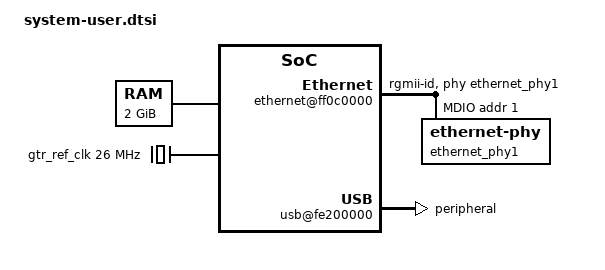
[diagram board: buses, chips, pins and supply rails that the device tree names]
/include/ "system-conf.dtsi"

/* ROOT CAUSE FOUND (RX-never-works bug): the inherited zcu102/fmcomms2-3 reference
 * tree's "uart1-default" pinctrl group (groups=uart1_5_grp) muxes MIO20/MIO21 to the
 * uart1 function -- that's the ZCU102's own wiring, not ours. Our actual UART1 pins,
 * per Vivado's PS8 config (psu_init.c) and confirmed working at the U-Boot prompt,
 * are MIO40 (TX) / MIO41 (RX). FSBL leaves MIO20/21 inert (L3_SEL=0, gpio) at boot;
 * it's Linux's pinctrl driver applying this stale "default" state on UART1 probe that
 * first actively muxes MIO21 to uart1 RX too. Since a ZynqMP peripheral's RX input is
 * an OR of every MIO pin currently muxed to it, and MIO21 floats unconnected on this
 * board, this corrupts the shared internal UART1 RX line -- explaining why RX is 100%
 * dead under Linux (SR.RXEMPTY stuck at 1, zero RXTRIG interrupts ever, confirmed via
 * raw register polling while mashing keys) while TX and U-Boot's own RX are both fine.
 * Drop the stale pinctrl reference entirely so Linux leaves MIO20/21 untouched. */
&{/axi/serial@ff010000} {
	/delete-property/ pinctrl-names;
	/delete-property/ pinctrl-0;
};

/* THROUGHPUT FIX (2026-10-12): the AD9361 RX/TX DMA (axi_dmac) data masters were
 * wired to plain, non-coherent HP ports (HP1/HP2 FPD), meaning the CPU had to read
 * capture buffers as uncached memory -- measured at ~59 MB/s regardless of
 * configured sample rate (16 vs 30.72 MS/s made no difference, confirming a fixed
 * CPU-read ceiling, not a USB/iiod/sample-rate-dependent limit). Fixed in Vivado by
 * moving both DMA masters onto the coherent HPC0/HPC1 FPD ports instead (which route
 * through the cache-coherent interconnect), with their AWUSER/ARUSER sideband
 * signals tied high -- ZynqMP requires that bit asserted on HPC ports to actually
 * get snooped/coherent transactions; left floating, it defaults to behaving exactly
 * like a plain HP port despite the physical rewiring.
 *
 * dma-coherent on the RX node only: the axi_dmac IP only exposes a
 * CACHE_COHERENT_DEST parameter, no CACHE_COHERENT_SRC counterpart -- ADI only
 * implemented coherent support for the memory-WRITE direction. RX's memory-facing
 * port is its destination (capturing into DDR) and has CACHE_COHERENT_DEST=true, so
 * dma-coherent is correct there. TX's memory-facing port is its SOURCE (reading
 * samples out to play), which this IP has no coherent support for at all --
 * confirmed by hardware: "dma-axi-dmac 9c420000.dma: Coherent DMA not supported in
 * hardware" / "probe ... failed with error -22" when dma-coherent was set on it.
 * TX stays physically wired to HPC1 (harmless -- without the DT flag Linux just
 * treats it as an ordinary non-coherent buffer with explicit cache maintenance,
 * same as before) but does NOT get the dma-coherent property. */
&{/fpga-axi@0/dma@9c400000} {
	dma-coherent;
};

/ {
	chosen {
		/* P501 only clocks PS UART1 (see psu_init.c: UART1_REF_CTRL CLKACT=1,
		 * no UART0 clock enable at all) -- the stock zcu102 reference .dts
		 * defaults to UART0 (serial0/ttyPS0), which is unclocked on this
		 * board and produces no output. Override to UART1 to match hardware. */
		stdout-path = "serial1:115200n8";
		/* Silent hang persists at the EXACT same point (right after cpufreq-dt's probe,
		 * which now fails gracefully thanks to cpufreq.off=1) no matter what peripheral
		 * driver is enabled/disabled -- tested i2c-mux, UART0, SD, SPIx2, USB, ethernet,
		 * both I2C buses, CAN, GPU, GPIO, PCIe, SERDES PHY, RTC, AHCI, watchdog, AMS,
		 * display, all 8 DMA channels, zynqmp-aes, EDAC_ZYNQMP_OCM -- all zero effect.
		 * This consistency points away from any specific peripheral driver and toward a
		 * late_initcall that runs unconditionally: clk_disable_unused() walks every
		 * registered clock and disables unused ones; if a PS8 clock's disable call goes
		 * through the PMU firmware via IPI and hangs (a different specific IPI call than
		 * the one cpufreq.off=1 bypasses), it would hang exactly here regardless of which
		 * drivers are present. clk_ignore_unused skips that pass entirely -- testing. */
		/* Diagnostic rdinit=/diag.sh (raw register polling) and init=/bin/sh are no
		 * longer needed -- root cause of the RX-dead bug found and fixed above (stale
		 * uart1 pinctrl group). Back to normal systemd boot for a real login test. */
		bootargs = "earlycon console=ttyPS1,115200 root=/dev/ram0 rw cpufreq.off=1 clk_ignore_unused";
	};

	/* ROOT CAUSE FOUND: the base device tree's /memory@0 node declares
	 * reg = <0x0 0x0 0x0 0x80000000 0x8 0x0 0x0 0x80000000> -- TWO 2GiB regions: the real
	 * one at 0x0, and a PHANTOM second 2GiB region at 0x800000000 (ZynqMP's "high DDR"
	 * address, the 32GiB offset). This exactly matches u-boot's "DRAM: 2 GiB (effective
	 * 4 GiB)" -- the board only has 2GiB physically populated, but the device tree claims
	 * 4GiB. Any kernel subsystem sizing itself off the declared total (swiotlb, CMA
	 * auto-placement, etc.) can end up touching the phantom upper region, which isn't
	 * backed by real DRAM -- causing the translation faults and kernel .text corruption
	 * we've been chasing. Confirmed by removing our CMA override: a DIFFERENT, EARLIER
	 * crash appeared (swiotlb_init_remap -> __memset -> translation fault), consistent
	 * with memory-sizing confusion, not a CMA-placement bug specifically.
	 * Fix: declare only the real, populated 2GiB. */
	memory@0 {
		device_type = "memory";
		reg = <0x0 0x0 0x0 0x80000000>;
	};

	reserved-memory {
		#address-cells = <2>;
		#size-cells = <2>;
		ranges;
		linux,cma {
			compatible = "shared-dma-pool";
			reusable;
			size = <0x0 0x10000000>;
			alignment = <0x0 0x2000>;
			linux,cma-default;
		};
	};

	/* ROOT CAUSE FOUND (USB3 PHY never probes, fully silent): the inherited
	 * zcu102/fmcomms2-3 reference tree wires the PS-GTR SerDes block's ref0-ref3
	 * clocks to a "silabs,si5341" clock synthesizer -- the SAME inherited FMC
	 * mezzanine clock-generator chip (behind i2c-mux@74) already confirmed absent
	 * on this board. clk_get("ref0") therefore never resolves, so xilinx-psgtr sits
	 * in permanent, silent deferred probe ("Failed to get ref clock 0" in
	 * /sys/kernel/debug/devices_deferred) -- which in turn strands dwc3/USB3,
	 * which depends on this PHY. Fix: Vivado's own PS8 config already records the
	 * real on-board oscillator for the lane USB3 actually uses
	 * (PSU__USB0__REF_CLK_SEL = Ref Clk2, PSU__USB0__REF_CLK_FREQ = 26 MHz) --
	 * model that as a plain fixed-clock and point the PHY at it instead. */
	gtr_ref_clk: gtr_ref_clk {
		compatible = "fixed-clock";
		#clock-cells = <0>;
		clock-frequency = <26000000>;
	};
};

&{/axi/phy@fd400000} {
	clocks = <&gtr_ref_clk>, <&gtr_ref_clk>, <&gtr_ref_clk>, <&gtr_ref_clk>;
	clock-names = "ref0", "ref1", "ref2", "ref3";
};

/* ETHERNET ROOT CAUSE FOUND (2026-10-12): the inherited zcu102/fmcomms2-3 reference
 * tree's "ethernet0" alias / default-enabled node addresses GEM3 (ff0e0000), but
 * Vivado's PS8 config never actually enables GEM3 at all (PSU__ENET3__PERIPHERAL__
 * ENABLE=0) -- it's GEM1 (ff0c0000, PSU__ENET1__PERIPHERAL__ENABLE=1, routed via
 * EMIO through the PL fabric, PHY_AD[2:0]=001 per the official P401/P501 user
 * manual's Gigabit Ethernet section) that's real. The PL-side RGMII datapath itself
 * was also never wired in the Vivado block design -- fixed separately by
 * instantiating/wiring the xilinx.com:ip:gmii_to_rgmii IP between PS8's EMIO ENET1
 * GMII signals and the board's real RGMII pins (already correctly constrained in
 * the XDC by the pins in the manual, just never connected to any logic). GEM3
 * (ff0e0000) stays disabled -- it was never real hardware on this board. */
&{/axi/ethernet@ff0c0000} {
	status = "okay";
	/* PHY is a Realtek RTL8211FI-CG (U28, schematic sheet 17). PHYRSTB is a
	 * plain RC power-on-reset (R243+C296 to VDD_3V3), not GPIO-controlled, so
	 * no reset-gpios property is needed.
	 *
	 * phy-mode history: link trained up fine at "rgmii-rxid" (1Gbps/Full
	 * reported), but NO actual traffic ever got through -- not even a DHCP
	 * response from a real router. Root cause, confirmed directly in the
	 * kernel's rtl8211f_config_rgmii_delay() (drivers/net/phy/realtek/
	 * realtek_main.c): this function WRITES the PHY's TX/RX delay-enable
	 * registers based on phy-mode, unconditionally overriding whatever the
	 * RX_DELAY/TX_DELAY strap resistors (R236/R237, both unpopulated/NC on
	 * this board) would otherwise default to. "rgmii-rxid" makes it write
	 * val_txdly=0 (TX delay forced OFF). Our gmii_to_rgmii IP also has
	 * RGMII_TXC_SKEW=0 (no delay on the FPGA/MAC side) -- so with "rgmii-rxid"
	 * NEITHER end was compensating clock-to-data skew for the MAC-to-PHY (TX)
	 * direction at all, corrupting frames in transit despite link training
	 * (a simpler, more tolerant process) succeeding. "rgmii-id" makes the
	 * driver enable delay on BOTH tx and rx in the PHY's own registers,
	 * fixing this without touching the FPGA bitstream. */
	phy-mode = "rgmii-id";
	phy-handle = <&ethernet_phy1>;

	/* MDIO ROOT CAUSE CONFIRMED AND FIXED (2026-10-12): the gmii_to_rgmii
	 * bridge IP's mdio_gem_* / mdio_phy_* pass-through ports (an optional
	 * convenience for the IP's own internal link-speed auto-detection, not a
	 * requirement for basic MDIO function) were silently breaking every MDIO
	 * transaction -- the bus was never actually reaching U28. Fixed in the
	 * Vivado block design by disconnecting MDIO from the bridge entirely and
	 * wiring PS8's EMIO ENET1 MDIO signals straight to the top-level
	 * MDIO_PHY_* ports instead (see P501_IIO project, gmii_to_rgmii_0 is no
	 * longer in the MDIO path at all -- only the GMII/RGMII *data* path still
	 * goes through it, which was always fine). Confirmed via direct
	 * devmem-based MACB_MAN register reads (PHY addr 1, regs 2/3) returning
	 * PHYID1=0x001C/PHYID2=0xC916 -- the real RTL8211F -- both before AND
	 * after this fix, proving the hardware was always fine and the bridge's
	 * MDIO pass-through was the actual blocker. Confirmed end-to-end on real
	 * hardware: RTL8211F driver binds, phy_id=0x001cc916, "Link is Up -
	 * 1Gbps/Full". */
	#address-cells = <1>;
	#size-cells = <0>;
	mdio {
		#address-cells = <1>;
		#size-cells = <0>;

		ethernet_phy1: ethernet-phy@1 {
			reg = <1>;
		};
	};
};

/* GEM3 was never enabled in Vivado's PS8 config (PSU__ENET3__PERIPHERAL__ENABLE=0)
 * -- not real hardware on this board. The inherited reference tree defaults it to
 * enabled, so it probes and harmlessly fails (PM domain request correctly refused
 * by firmware). Disable explicitly instead of leaving it implicit. */
&{/axi/ethernet@ff0e0000} {
	status = "disabled";
};

/* USB3 port (J7, Type-A) is confirmed dual-role capable in hardware (USB3320C-EZK
 * ULPI PHY's CPEN pin drives a VBUS power switch, the standard OTG application
 * circuit for this chip -- see user manual 2.12 "configurable as either Host or
 * Device mode"). But there's no ID pin, extcon, or usb-role-switch wired on this
 * board (confirmed live: /sys/class/usb_role/ is empty, /sys/class/udc/ doesn't
 * exist at all while dr_mode="otg" defaults to host-only at boot with no runtime
 * switch available) -- so "configurable" means a build-time choice, not a live
 * toggle. Switching to "peripheral" here to bring up the libiio USB FunctionFS
 * gadget (PlutoSDR-style IIO-over-USB, see usb-gadget-iio recipe) -- this trades
 * away host-mode (USB flash drives/dongles) in this build. */
&{/axi/usb@ff9d0000/usb@fe200000} {
	dr_mode = "peripheral";
};

/* This whole i2c-mux (NXP PCA9548 at 0x74) + everything behind it (board-ID eeprom,
 * si5341/si570/si5328 clock generators) is inherited wholesale from the ZCU102/FMCOMMS2-3
 * reference carrier's FMC mezzanine -- it almost certainly doesn't exist on the custom P501
 * board. Keeping this disabled regardless (correct either way, since it's not real hardware),
 * but confirmed via testing this was NOT the cause of the post-DRAM hang -- it's not flagged
 * u-boot,dm-pre-reloc, so it isn't even touched this early in boot. */
&{/axi/i2c@ff030000/i2c-mux@74} {
	status = "disabled";
};

/* UART0 theory tested and ALSO had zero effect -- identical hang. Keeping disabled regardless
 * (still correct, still unclocked), but it wasn't the cause either. */
&{/axi/serial@ff000000} {
	status = "disabled";
};

/* SD controller (mmc@ff170000) diagnostic-disable ALSO had zero effect -- re-enabled, we need
 * it for real boot anyway. This ruled out my whole "specific dm-pre-reloc node" theory: every
 * individually-testable peripheral (i2c-mux, UART0, SD) made no difference at all.
 *
 * RE-ENABLED (see below): SPI x2 (incl. ad9361-phy), USB, ethernet, both I2C buses, CAN, GPU,
 * GPIO, PCIe, SERDES PHY, RTC, AHCI, watchdog, AMS, display, and all 8 DMA controllers were all
 * individually/comprehensively tested and confirmed to have ZERO effect on the post-DRAM-fix
 * hang -- the hang was actually root-caused separately (clk_disable_unused() walking every
 * registered clock via a PMU-firmware IPI that hangs) and fixed via cpufreq.off=1 +
 * clk_ignore_unused in bootargs above, which is sufficient on its own. These disables were
 * diagnostic dead ends kept from that investigation, not an actual requirement for booting --
 * re-enabling all of them now since we need SPI/DMA for the AD9361/IIO functionality this board
 * exists for. If re-enabling resurfaces any hang, it was masking a real (if rare) interaction
 * and we'll bisect again; expectation is a clean boot since the real fix is the bootarg change. */

/* REGRESSION after re-enabling everything: boot hangs in U-BOOT ITSELF, right after
 * "DRAM: 2 GiB", before PMUFW/Core/MMC ever print -- much earlier than any kernel-side hang.
 * First guess: disabling the two "u-boot,dm-pre-reloc"-flagged nodes among what we re-enabled
 * (spi@ff0f0000, display@fd4a0000) -- confirmed via a fresh system.dtb dump that both really are
 * disabled in that build, and confirmed none of USB/ethernet/I2Cx2/CAN/GPU/GPIO/PCIe/PHY/RTC/
 * AHCI/watchdog/AMS/8xDMA carry that flag either. Rebuilt and reflashed -- STILL hangs at the
 * exact same point. So dm-pre-reloc alone doesn't explain it (or isn't the only factor).
 * Falling back to minimal re-enable instead of further guessing: restore the full disable list
 * that was already proven to boot cleanly to login, and re-enable ONLY spi@ff040000 (the
 * AD9361 bus) -- the one thing actually required right now, and never tested in isolation
 * before (always grouped with spi@ff0f0000 in earlier rounds). Bisect the rest later. */
&{/axi/spi@ff0f0000} { status = "disabled"; };
/* RE-ENABLED for bisection (2026-10-06): neither usb@ff9d0000 nor ethernet@ff0e0000 was ever
 * individually tested -- both were only ever disabled as part of the big "re-enable everything"
 * batch that caused the U-Boot-stage regression (hang right after "DRAM: 2 GiB", before
 * PMUFW/Core/MMC). Re-enabling just these two (PS-side MIO-muxed controllers, unrelated to the
 * PL/XDC pin-inheritance bug class that hit AD9361/UART) as a small, isolated next step. If this
 * reproduces the U-Boot hang, these two are implicated and need further bisection between them;
 * if not, the real culprit is among the other still-disabled nodes below. */
&{/axi/i2c@ff020000} { status = "disabled"; };
&{/axi/i2c@ff030000} { status = "disabled"; };
&{/axi/can@ff070000} { status = "disabled"; };
&{/axi/gpu@fd4b0000} { status = "disabled"; };
/* RE-ENABLED: AD9361's reset-gpios/enable-gpios/en_agc-gpios/sync-gpios/txnrx-gpios all
 * reference this controller (phandle in the ad9361 node's *-gpios properties). With it
 * disabled, ad9361_probe entered repeatedly but never completed -- "spi spi1.0: deferred
 * probe pending" in dmesg, since the GPIO provider it needs never registers. Not
 * dm-pre-reloc flagged, so shouldn't resurrect the earlier U-Boot-stage hang. */
&{/axi/pcie@fd0e0000} { status = "disabled"; };
/* RE-ENABLED (2026-10-06): this is the shared PS-GTR SerDes lane controller
 * (xlnx,zynqmp-psgtr-v1.1) used by PCIe/USB3/SATA/DP/SGMII, not a PCIe-only node --
 * disabling it during the earlier "disable everything" diagnostic round silently
 * stranded the USB3 dwc3 controller, which references it via phandle for its
 * "usb3-phy" (phys = <... lane2 ...>, maximum-speed = "super-speed"). With this
 * provider missing, dwc3's probe deferred forever with zero dmesg output --
 * explaining why USB showed no controller-probe activity at all despite USB0's
 * MIO52-64 ULPI pins and PS8 config being genuinely correct. PCIe itself stays
 * disabled above, so nothing requests a PCIe lane from this node -- no conflict. */
&{/axi/phy@fd400000} { status = "okay"; };
&{/axi/rtc@ffa60000} { status = "disabled"; };
&{/axi/ahci@fd0c0000} { status = "disabled"; };
&{/axi/watchdog@fd4d0000} { status = "disabled"; };
&{/axi/ams@ffa50000} { status = "disabled"; };
&{/axi/display@fd4a0000} { status = "disabled"; };
&{/axi/dma-controller@fd500000} { status = "disabled"; };
&{/axi/dma-controller@fd510000} { status = "disabled"; };
&{/axi/dma-controller@fd520000} { status = "disabled"; };
&{/axi/dma-controller@fd530000} { status = "disabled"; };
&{/axi/dma-controller@fd540000} { status = "disabled"; };
&{/axi/dma-controller@fd550000} { status = "disabled"; };
&{/axi/dma-controller@fd560000} { status = "disabled"; };
&{/axi/dma-controller@fd570000} { status = "disabled"; };

/* SD-controller-disabled test INVALIDATED ITSELF: this device tree is shared between u-boot
 * and the kernel (both read system.dtb from the same BOOT.BIN/FIT image), so disabling
 * mmc@ff170000 broke u-boot's OWN ability to find the SD card at all -- it never even reached
 * the kernel, falling through JTAG/QSPI/NAND/USB/PXE boot attempts down to an interactive
 * "ZynqMP>" prompt. Reverted -- need a different approach to test "disabled for kernel only"
 * (e.g. a u-boot "fdt rm" step in boot.scr between loading and bootm, not a static DT edit). */
